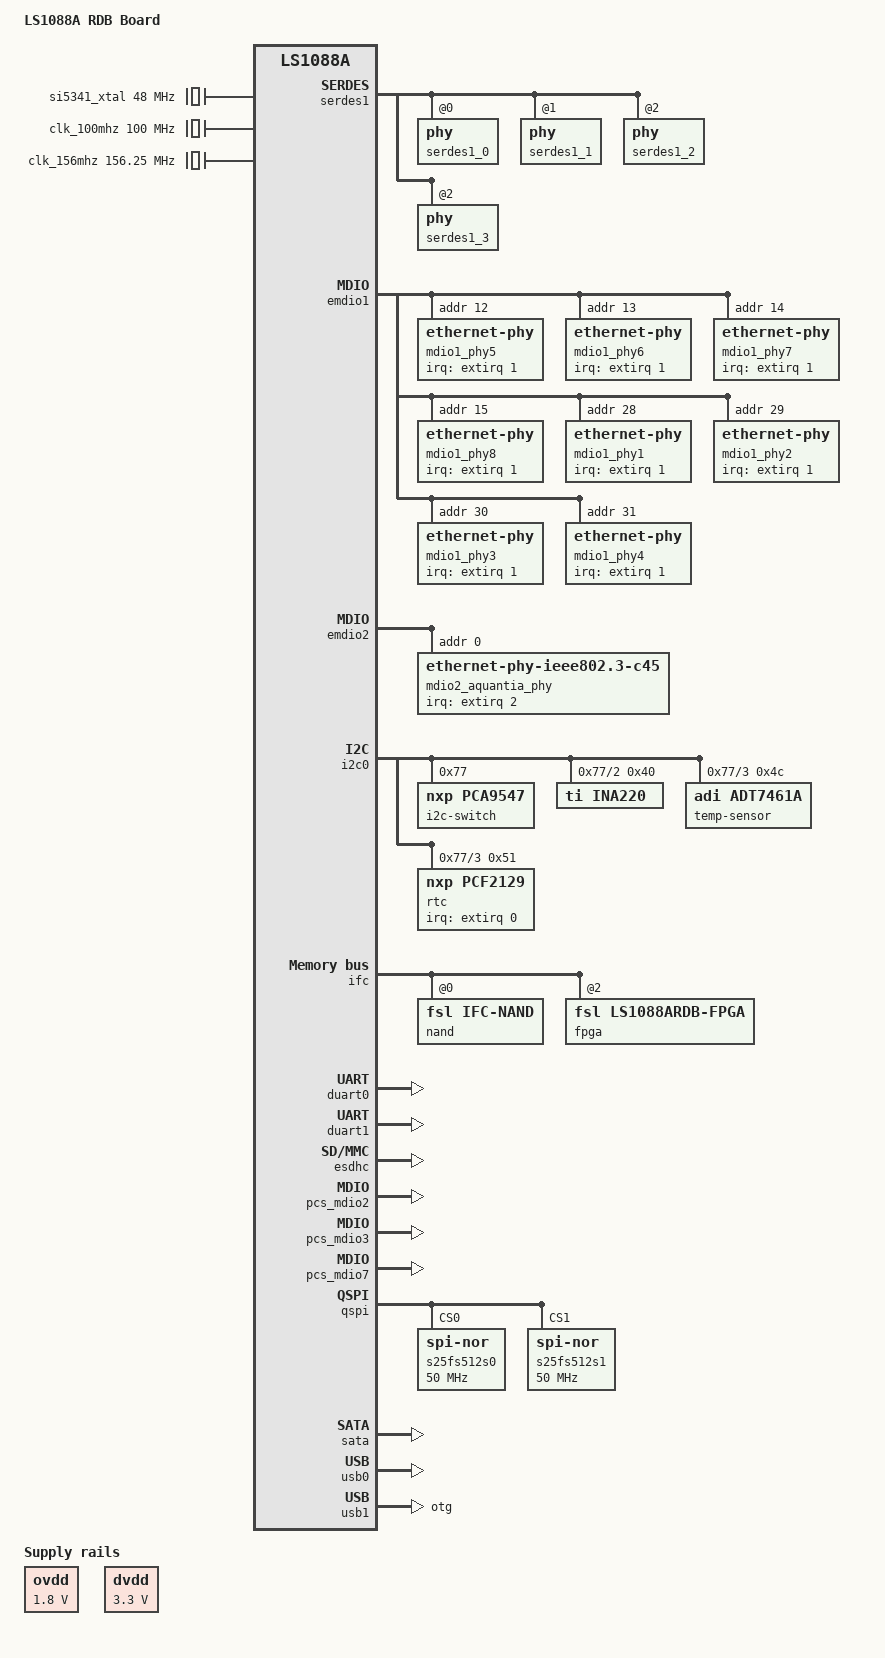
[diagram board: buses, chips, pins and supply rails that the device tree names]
// SPDX-License-Identifier: (GPL-2.0+ OR MIT)
/*
 * Device Tree file for NXP LS1088A RDB Board.
 *
 * Copyright 2017-2020 NXP
 *
 * Harninder Rai <harninder.rai@nxp.com>
 *
 */

/dts-v1/;

#include <dt-bindings/phy/phy.h>

#include "fsl-ls1088a.dtsi"

/ {
	model = "LS1088A RDB Board";
	compatible = "fsl,ls1088a-rdb", "fsl,ls1088a";

	clocks {
		si5341_xtal: clock-48mhz {
			compatible = "fixed-clock";
			#clock-cells = <0>;
			clock-frequency = <48000000>;
		};

		clk_100mhz: clock-100mhz {
			compatible = "fixed-clock";
			#clock-cells = <0>;
			clock-frequency = <100000000>;
		};

		clk_156mhz: clock-156mhz {
			compatible = "fixed-clock";
			#clock-cells = <0>;
			clock-frequency = <156250000>;
		};
	};

	ovdd: regulator-1v8 {
		compatible = "regulator-fixed";
		regulator-name = "ovdd";
		regulator-min-microvolt = <1800000>;
		regulator-max-microvolt = <1800000>;
	};

	dvdd: regulator-3v3 {
		compatible = "regulator-fixed";
		regulator-name = "dvdd";
		regulator-min-microvolt = <3300000>;
		regulator-max-microvolt = <3300000>;
	};

};

&serdes1 {
	//clocks = <&si5341 0 8>, <&si5341 0 9>;
	clocks = <&clk_100mhz>, <&clk_156mhz>;
	clock-names = "ref0", "ref1";
	status = "okay";

	serdes1_0: phy@0 {
		#phy-cells = <0>;
		reg = <0>;

		/* SG2 */
		sgmii-3 {
			fsl,pccr = <0x8>;
			fsl,index = <3>;
			fsl,cfg = <0x1>;
			fsl,type = <PHY_TYPE_2500BASEX>;
		};

		/* XFI2 */
		xfi-1 {
			fsl,pccr = <0xb>;
			fsl,index = <1>;
			fsl,cfg = <0x1>;
			fsl,type = <PHY_TYPE_10GBASER>;
		};
	};

	serdes1_1: phy@1 {
		#phy-cells = <0>;
		reg = <1>;

		/* SG1 */
		sgmii-2 {
			fsl,pccr = <0x8>;
			fsl,index = <2>;
			fsl,cfg = <0x1>;
			fsl,type = <PHY_TYPE_2500BASEX>;
		};

		/*
		 * XFI2
		 * Table 23-1 and section 23.5.16.4 disagree; this reflects the
		 * table.
		 */
		xfi-0 {
			fsl,pccr = <0xb>;
			fsl,index = <0>;
			fsl,cfg = <0x1>;
			fsl,type = <PHY_TYPE_10GBASER>;
		};
	};

	serdes1_2: phy@2 {
		#phy-cells = <0>;
		reg = <2>;

		/* QSGb */
		qsgmii-1 {
			fsl,pccr = <0x9>;
			fsl,index = <1>;
			fsl,cfg = <0x1>;
			fsl,type = <PHY_TYPE_QSGMII>;
		};
	};

	serdes1_3: phy@2 {
		#phy-cells = <0>;
		reg = <2>;

		/* QSGa */
		qsgmii-0 {
			fsl,pccr = <0x9>;
			fsl,index = <0>;
			fsl,cfg = <0x1>;
			fsl,type = <PHY_TYPE_QSGMII>;
		};
	};
};

&dpmac1 {
	phys = <&serdes1_1>;
};

&dpmac2 {
	phy-handle = <&mdio2_aquantia_phy>;
	phy-connection-type = "10gbase-r";
	pcs-handle = <&pcs2>;
	phys = <&serdes1_0>;
};

&dpmac3 {
	phy-handle = <&mdio1_phy5>;
	phy-connection-type = "qsgmii";
	managed = "in-band-status";
	pcs-handle = <&pcs3_0>;
	phys = <&serdes1_3>;
};

&dpmac4 {
	phy-handle = <&mdio1_phy6>;
	phy-connection-type = "qsgmii";
	managed = "in-band-status";
	pcs-handle = <&pcs3_1>;
	phys = <&serdes1_3>;
};

&dpmac5 {
	phy-handle = <&mdio1_phy7>;
	phy-connection-type = "qsgmii";
	managed = "in-band-status";
	pcs-handle = <&pcs3_2>;
	phys = <&serdes1_3>;
};

&dpmac6 {
	phy-handle = <&mdio1_phy8>;
	phy-connection-type = "qsgmii";
	managed = "in-band-status";
	pcs-handle = <&pcs3_3>;
	phys = <&serdes1_3>;
};

&dpmac7 {
	phy-handle = <&mdio1_phy1>;
	phy-connection-type = "qsgmii";
	managed = "in-band-status";
	pcs-handle = <&pcs7_0>;
	phys = <&serdes1_2>;
};

&dpmac8 {
	phy-handle = <&mdio1_phy2>;
	phy-connection-type = "qsgmii";
	managed = "in-band-status";
	pcs-handle = <&pcs7_1>;
	phys = <&serdes1_2>;
};

&dpmac9 {
	phy-handle = <&mdio1_phy3>;
	phy-connection-type = "qsgmii";
	managed = "in-band-status";
	pcs-handle = <&pcs7_2>;
	phys = <&serdes1_2>;
};

&dpmac10 {
	phy-handle = <&mdio1_phy4>;
	phy-connection-type = "qsgmii";
	managed = "in-band-status";
	pcs-handle = <&pcs7_3>;
	phys = <&serdes1_2>;
};

&emdio1 {
	status = "okay";

	mdio1_phy5: ethernet-phy@c {
		interrupts-extended = <&extirq 1 IRQ_TYPE_LEVEL_LOW>;
		reg = <0xc>;
	};

	mdio1_phy6: ethernet-phy@d {
		interrupts-extended = <&extirq 1 IRQ_TYPE_LEVEL_LOW>;
		reg = <0xd>;
	};

	mdio1_phy7: ethernet-phy@e {
		interrupts-extended = <&extirq 1 IRQ_TYPE_LEVEL_LOW>;
		reg = <0xe>;
	};

	mdio1_phy8: ethernet-phy@f {
		interrupts-extended = <&extirq 1 IRQ_TYPE_LEVEL_LOW>;
		reg = <0xf>;
	};

	mdio1_phy1: ethernet-phy@1c {
		interrupts-extended = <&extirq 1 IRQ_TYPE_LEVEL_LOW>;
		reg = <0x1c>;
	};

	mdio1_phy2: ethernet-phy@1d {
		interrupts-extended = <&extirq 1 IRQ_TYPE_LEVEL_LOW>;
		reg = <0x1d>;
	};

	mdio1_phy3: ethernet-phy@1e {
		interrupts-extended = <&extirq 1 IRQ_TYPE_LEVEL_LOW>;
		reg = <0x1e>;
	};

	mdio1_phy4: ethernet-phy@1f {
		interrupts-extended = <&extirq 1 IRQ_TYPE_LEVEL_LOW>;
		reg = <0x1f>;
	};
};

&emdio2 {
	status = "okay";

	mdio2_aquantia_phy: ethernet-phy@0 {
		compatible = "ethernet-phy-ieee802.3-c45";
		interrupts-extended = <&extirq 2 IRQ_TYPE_LEVEL_LOW>;
		reg = <0x0>;
	};
};

&i2c0 {
	status = "okay";

	i2c-switch@77 {
		compatible = "nxp,pca9547";
		reg = <0x77>;
		#address-cells = <1>;
		#size-cells = <0>;

		i2c@1 {
			#address-cells = <1>;
			#size-cells = <0>;
			reg = <0x1>;

			si5341: clock-generator@74 {
				#address-cells = <1>;
				#clock-cells = <2>;
				#size-cells = <0>;
				compatible = "silabs,si5341";
				reg = <0x74>;
				clocks = <&si5341_xtal>;
				clock-names = "xtal";
				vdd-supply = <&ovdd>;
				vdda-supply = <&dvdd>;
				vddo8-supply = <&ovdd>;
				vddo9-supply = <&ovdd>;
				silabs,iovdd-33;
				status = "disabled";

				out@8 {
					reg = <8>;
					silabs,format = <1>;
				};

				out@9 {
					reg = <9>;
					silabs,format = <1>;
				};
			};
		};

		i2c@2 {
			#address-cells = <1>;
			#size-cells = <0>;
			reg = <0x2>;

			ina220@40 {
				compatible = "ti,ina220";
				reg = <0x40>;
				shunt-resistor = <1000>;
			};
		};

		i2c@3 {
			#address-cells = <1>;
			#size-cells = <0>;
			reg = <0x3>;

			temp-sensor@4c {
				compatible = "adi,adt7461a";
				reg = <0x4c>;
			};

			rtc@51 {
				compatible = "nxp,pcf2129";
				reg = <0x51>;
				/* IRQ_RTC_B -> IRQ0_B(CPLD) -> IRQ00(CPU), active low */
				interrupts-extended = <&extirq 0 IRQ_TYPE_LEVEL_LOW>;
			};
		};
	};
};

&ifc {
	ranges = <0 0 0x5 0x30000000 0x00010000
		  2 0 0x5 0x20000000 0x00010000>;
	status = "okay";

	nand@0,0 {
		compatible = "fsl,ifc-nand";
		reg = <0x0 0x0 0x10000>;
	};

	fpga: board-control@2,0 {
		compatible = "fsl,ls1088ardb-fpga", "fsl,fpga-qixis";
		reg = <0x2 0x0 0x0000100>;
	};
};

&duart0 {
	status = "okay";
};

&duart1 {
	status = "okay";
};

&esdhc {
	mmc-hs200-1_8v;
	status = "okay";
};

&pcs_mdio2 {
	status = "okay";
};

&pcs_mdio3 {
	status = "okay";
};

&pcs_mdio7 {
	status = "okay";
};

&qspi {
	status = "okay";

	s25fs512s0: flash@0 {
		compatible = "jedec,spi-nor";
		#address-cells = <1>;
		#size-cells = <1>;
		spi-max-frequency = <50000000>;
		spi-rx-bus-width = <4>;
		spi-tx-bus-width = <1>;
		reg = <0>;
	};

	s25fs512s1: flash@1 {
		compatible = "jedec,spi-nor";
		#address-cells = <1>;
		#size-cells = <1>;
		spi-max-frequency = <50000000>;
		spi-rx-bus-width = <4>;
		spi-tx-bus-width = <1>;
		reg = <1>;
	};
};

&sata {
	status = "okay";
};

&usb0 {
	status = "okay";
};

&usb1 {
	dr_mode = "otg";
	status = "okay";
};
